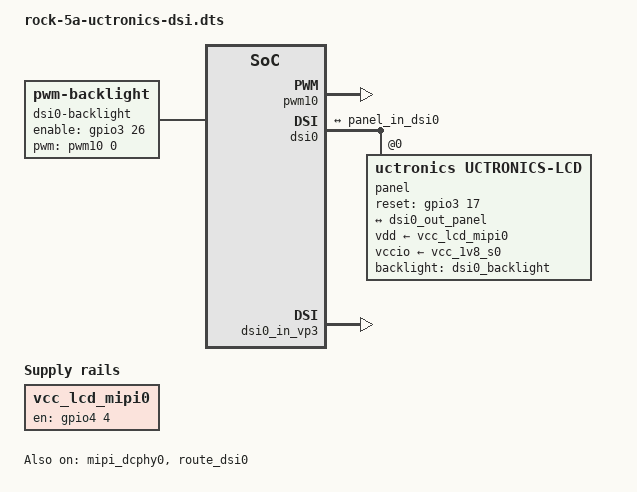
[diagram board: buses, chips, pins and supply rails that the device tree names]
// SPDX-License-Identifier: (GPL-2.0+ OR MIT)
// Uctronics AI in a Box DSI display (720x1280) overlay for Rock 5A.
// Based on rock-5a-radxa-display-8hd.dtbo structure with uctronics panel driver.

/dts-v1/;
/plugin/;

/ {
	metadata {
		title = "Enable Uctronics AI in a Box Display";
		compatible = "radxa,rock-5a";
		category = "display";
		exclusive = "dsi0";
		description = "Enable Uctronics 720x1280 DSI display.";
	};

	fragment@0 {
		target-path = "/";
		__overlay__ {
			vcc-lcd-mipi0 {
				status = "okay";
				compatible = "regulator-fixed";
				regulator-name = "vcc_lcd_mipi0";
				gpio = <&gpio4 4 0>; /* GPIO4_A4, active high */
				enable-active-high;
				regulator-boot-on;
				regulator-state-mem {
					regulator-off-in-suspend;
				};
			};

			dsi0-backlight {
				status = "okay";
				compatible = "pwm-backlight";
				pwms = <&pwm10 0 25000 0>;
				brightness-levels = <255 254 253 252 251 250 249 248 247 246
					245 244 243 242 241 240 239 238 237 236 235 234 233 232
					231 230 229 228 227 226 225 224 223 222 221 220 219 218
					217 216 215 214 213 212 211 210 209 208 207 206 205 204
					203 202 201 200 199 198 197 196 195 194 193 192 191 190
					189 188 187 186 185 184 183 182 181 180 179 178 177 176
					175 174 173 172 171 170 169 168 167 166 165 164 163 162
					161 160 159 158 157 156 155 154 153 152 151 150 149 148
					147 146 145 144 143 142 141 140 139 138 137 136 135 134
					133 132 131 130 129 128 127 126 125 124 123 122 121 120
					119 118 117 116 115 114 113 112 111 110 109 108 107 106
					105 104 103 102 101 100 99 98 97 96 95 94 93 92 91 90
					89 88 87 86 85 84 83 82 81 80 79 78 77 76 75 74 73 72
					71 70 69 68 67 66 65 64 63 62 61 60 59 58 57 56 55 54
					53 52 51 50 49 48 47 46 45 44 43 42 41 40 39 38 37 36
					35 34 33 32 31 30 29 28 27 26 38 37 37 36 36 35 35 34
					34 33 33 32 32 31 31 30 30 29 29 28 28 27 27 26 26 25
					25 24 24 23 23 22 22 21 21 20 20 0>;
				default-brightness-level = <200>;
				enable-gpios = <&gpio3 26 0>; /* GPIO3_D2 */
				pinctrl-names = "default";
				pinctrl-0 = <&dsi0_backlight_en>;
			};
		};
	};

	fragment@1 {
		target = <&pwm10>;
		__overlay__ {
			status = "okay";
			pinctrl-names = "active";
			pinctrl-0 = <&pwm10m2_pins>;
		};
	};

	fragment@2 {
		target = <&dsi0>;
		__overlay__ {
			status = "okay";
			rockchip,lane-rate = <480>;
			#address-cells = <1>;
			#size-cells = <0>;

			panel@0 {
				status = "okay";
				compatible = "uctronics,uctronics-lcd";
				reg = <0>;
				backlight = <&dsi0_backlight>;
				vdd-supply = <&vcc_lcd_mipi0>;
				vccio-supply = <&vcc_1v8_s0>;
				reset-gpios = <&gpio3 17 0>; /* GPIO3_C1 */
				pinctrl-names = "default";
				pinctrl-0 = <&dsi0_lcd_rst_gpio>;

				ports {
					#address-cells = <1>;
					#size-cells = <0>;
					port@0 {
						reg = <0>;
						panel_in_dsi0: endpoint {
							remote-endpoint = <&dsi0_out_panel>;
						};
					};
				};
			};

			ports {
				#address-cells = <1>;
				#size-cells = <0>;
				port@1 {
					reg = <1>;
					dsi0_out_panel: endpoint {
						remote-endpoint = <&panel_in_dsi0>;
					};
				};
			};
		};
	};

	fragment@3 {
		target = <&mipi_dcphy0>;
		__overlay__ {
			status = "okay";
		};
	};

	fragment@4 {
		target = <&route_dsi0>;
		__overlay__ {
			status = "okay";
			connect = <&vp3_out_dsi0>;
		};
	};

	fragment@5 {
		target = <&dsi0_in_vp2>;
		__overlay__ {
			status = "disabled";
		};
	};

	fragment@6 {
		target = <&dsi0_in_vp3>;
		__overlay__ {
			status = "okay";
		};
	};

	fragment@7 {
		target = <&pinctrl>;
		__overlay__ {
			dsi0-lcd {
				dsi0_lcd_rst_gpio: dsi0-lcd-rst-gpio {
					rockchip,pins = <3 17 0 &pcfg_pull_up>;
				};
				dsi0_backlight_en: dsi0-backlight-en {
					rockchip,pins = <3 26 0 &pcfg_pull_up>;
				};
			};
		};
	};
};
